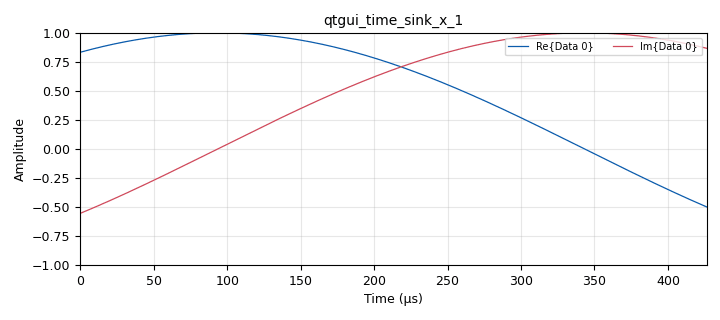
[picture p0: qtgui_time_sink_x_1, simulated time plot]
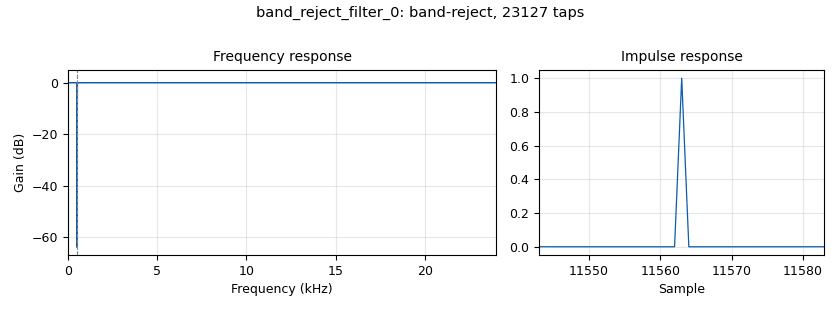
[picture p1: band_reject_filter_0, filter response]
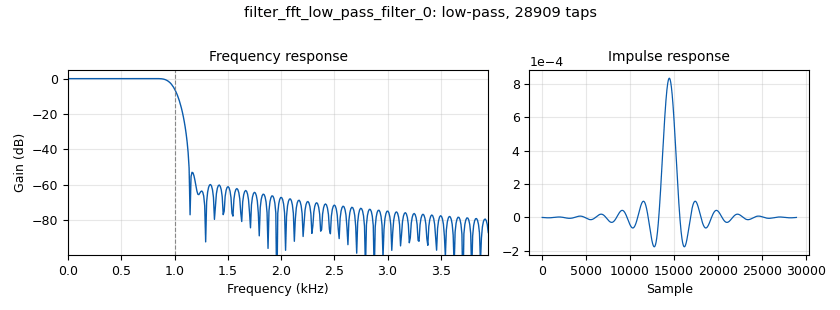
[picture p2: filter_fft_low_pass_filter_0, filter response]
options:
  parameters:
    author: anils
    generate_options: qt_gui
    id: doppler_effect
    output_language: python
    title: Not titled yet
  states: {}

blocks:
- name: audio_gain
  id: variable_qtgui_range
  parameters:
    start: '0'
    step: '1'
    stop: '100'
    value: '50'
  states: {}
- name: rx_gain
  id: variable_qtgui_range
  parameters:
    start: '0'
    step: '1'
    stop: '100'
    value: '50'
  states: {}
- name: samp_rate
  id: variable
  parameters:
    value: 2.4e6
  states: {}
- name: tone_freq
  id: variable_qtgui_range
  parameters:
    start: '-2e3'
    step: '1'
    stop: 2e3
    value: '500'
  states: {}
- name: tx_attenuation
  id: variable_qtgui_range
  parameters:
    start: '0'
    step: '1'
    stop: '100'
    value: '50'
  states: {}
- name: analog_sig_source_x_0
  id: analog_sig_source_x
  parameters:
    amp: '1'
    freq: '1000'
    offset: '0'
    phase: '0'
    samp_rate: samp_rate
    type: complex
    waveform: analog.GR_COS_WAVE
  states: {}
- name: audio_sink_0
  id: audio_sink
  parameters:
    samp_rate: int(samp_rate/50)
  states: {}
- name: band_reject_filter_0
  id: band_reject_filter
  parameters:
    decim: '1'
    gain: '1'
    high_cutoff_freq: '505'
    low_cutoff_freq: '495'
    samp_rate: samp_rate/50
    type: fir_filter_ccf
    width: '5'
    win: window.WIN_HAMMING
  states: {}
- name: blocks_complex_to_real_0
  id: blocks_complex_to_real
  parameters: {}
  states: {}
- name: blocks_multiply_const_vxx_0
  id: blocks_multiply_const_vxx
  parameters:
    const: audio_gain
    type: complex
  states: {}
- name: filter_fft_low_pass_filter_0
  id: filter_fft_low_pass_filter
  parameters:
    cutoff_freq: tone_freq*2
    decim: '50'
    gain: '1'
    samp_rate: samp_rate
    type: ccc
    width: '200'
    win: window.WIN_HAMMING
  states: {}
- name: iio_pluto_sink_0
  id: iio_pluto_sink
  parameters:
    attenuation1: tx_attenuation
    bandwidth: '20000000'
    buffer_size: '32768'
    cyclic: 'False'
    filter_source: '''Auto'''
    frequency: '3500000000'
    samplerate: int(samp_rate)
    type: fc32
  states: {}
- name: iio_pluto_source_0
  id: iio_pluto_source
  parameters:
    bandwidth: '20000000'
    bbdc: 'True'
    buffer_size: '32768'
    filter_source: '''Auto'''
    frequency: '3500000000'
    gain1: '''manual'''
    manual_gain1: '64'
    quadrature: 'True'
    rfdc: 'True'
    samplerate: int(samp_rate)
    type: fc32
  states: {}
- name: qtgui_freq_sink_x_0
  id: qtgui_freq_sink_x
  parameters:
    bw: samp_rate
    fc: '0'
    fftsize: 1024*8
    type: complex
  states: {}
- name: qtgui_freq_sink_x_1
  id: qtgui_freq_sink_x
  parameters:
    average: '0.2'
    bw: samp_rate/50
    fc: '0'
    fftsize: 1024*8
    type: complex
  states: {}
- name: qtgui_freq_sink_x_2
  id: qtgui_freq_sink_x
  parameters:
    bw: samp_rate
    fc: '0'
    fftsize: '1024'
    type: complex
  states: {}
- name: qtgui_time_sink_x_0
  id: qtgui_time_sink_x
  parameters:
    label1: RX re
    label2: RX im
    size: '1024'
    srate: samp_rate
    type: complex
  states: {}
- name: qtgui_time_sink_x_1
  id: qtgui_time_sink_x
  parameters:
    size: '1024'
    srate: samp_rate
    type: complex
  states: {}
- name: qtgui_time_sink_x_2
  id: qtgui_time_sink_x
  parameters:
    size: '1024'
    srate: samp_rate/50
    type: complex
  states: {}
- name: qtgui_time_sink_x_3
  id: qtgui_time_sink_x
  parameters:
    label1: band reject re
    label2: band reject im
    size: '1024'
    srate: samp_rate/50
    type: complex
  states: {}

connections:
- [analog_sig_source_x_0, '0', iio_pluto_sink_0, '0']
- [analog_sig_source_x_0, '0', qtgui_time_sink_x_1, '0']
- [band_reject_filter_0, '0', blocks_multiply_const_vxx_0, '0']
- [blocks_complex_to_real_0, '0', audio_sink_0, '0']
- [blocks_multiply_const_vxx_0, '0', blocks_complex_to_real_0, '0']
- [blocks_multiply_const_vxx_0, '0', qtgui_freq_sink_x_2, '0']
- [blocks_multiply_const_vxx_0, '0', qtgui_time_sink_x_3, '0']
- [filter_fft_low_pass_filter_0, '0', band_reject_filter_0, '0']
- [filter_fft_low_pass_filter_0, '0', qtgui_freq_sink_x_1, '0']
- [filter_fft_low_pass_filter_0, '0', qtgui_time_sink_x_2, '0']
- [iio_pluto_source_0, '0', filter_fft_low_pass_filter_0, '0']
- [iio_pluto_source_0, '0', qtgui_freq_sink_x_0, '0']
- [iio_pluto_source_0, '0', qtgui_time_sink_x_0, '0']

metadata:
  file_format: 1
  grc_version: 3.10.12.0
